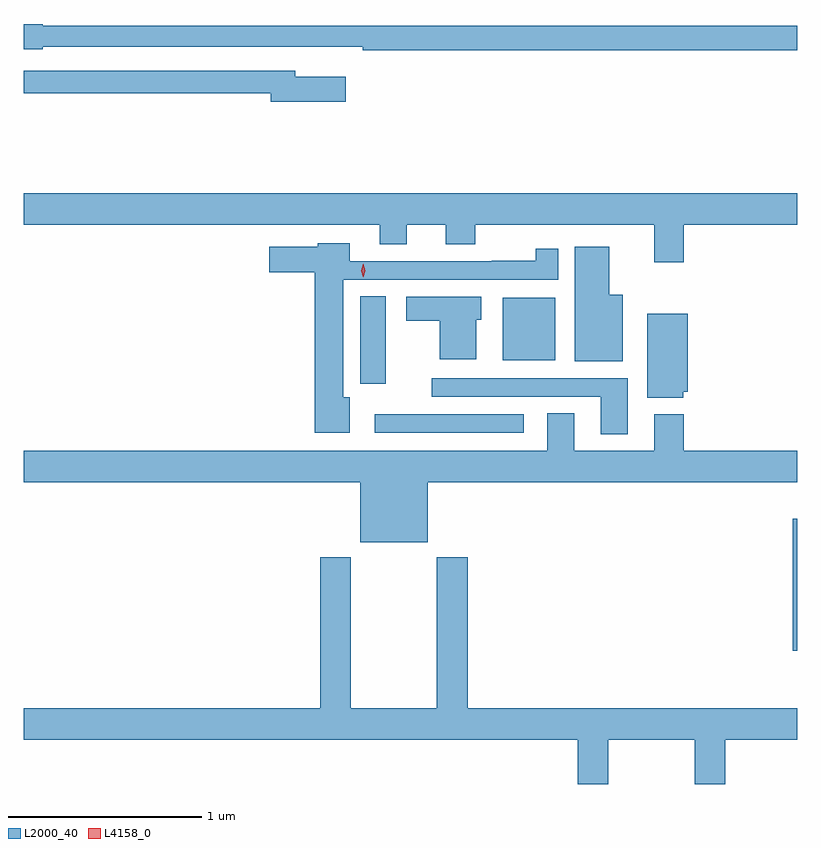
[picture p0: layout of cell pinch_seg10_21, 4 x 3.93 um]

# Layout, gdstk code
import gdstk
lib = gdstk.Library(unit=1e-6, precision=1e-09)
def R(c, l, rs):  # rectangles x0, y0, x1, y1
    for r in rs: c.add(gdstk.rectangle(r[:2], r[2:], *l))
def P(c, l, *ps):  # polygons
    for p in ps: c.add(gdstk.Polygon(p, *l))
L2000_40 = (2000, 40)
L4158_0 = (4158, 0)

pinch_seg10_21 = lib.new_cell('pinch_seg10_21')
R(pinch_seg10_21, L2000_40, [(953.257,1298.112,953.281,1298.797), (951.096,1299.24,951.868,1299.336), (951.02,1299.495,951.154,1299.947), (951.758,1299.617,952.03,1299.94)])
P(pinch_seg10_21, L2000_40, [(953.281,1301.347),(949.38,1301.347),(949.38,1301.355),(949.281,1301.355),(949.281,1301.225),(949.38,1301.225),(949.38,1301.238),(950.782,1301.238),(950.782,1301.237),(951.034,1301.237),(951.034,1301.218),(953.281,1301.218)],
  [(950.947,1301.083),(950.686,1301.083),(950.686,1301.112),(949.281,1301.112),(949.281,1300.996),(950.558,1300.996),(950.558,1300.954),(950.947,1300.954)],
  [(952.694,1300.316),(953.281,1300.316),(953.281,1300.48),(949.281,1300.48),(949.281,1300.316),(951.122,1300.316),(951.122,1300.217),(951.262,1300.217),(951.262,1300.316),(951.464,1300.316),(951.464,1300.217),(951.617,1300.217),(951.617,1300.316),(952.541,1300.316),(952.541,1300.122),(952.694,1300.122)],
  [(950.968,1299.424),(950.932,1299.424),(950.932,1300.032),(952.045,1300.032),(952.045,1300.192),(951.928,1300.192),(951.928,1300.13),(951.7,1300.13),(951.7,1300.128),(950.968,1300.128),(950.968,1300.222),(950.802,1300.222),(950.802,1300.204),(950.55,1300.204),(950.55,1300.07),(950.786,1300.07),(950.786,1299.242),(950.968,1299.242)],
  [(952.378,1299.955),(952.309,1299.955),(952.309,1300.204),(952.13,1300.204),(952.13,1299.611),(952.378,1299.611)],
  [(951.622,1299.825),(951.646,1299.825),(951.646,1299.943),(951.258,1299.943),(951.258,1299.821),(951.431,1299.821),(951.431,1299.62),(951.622,1299.62)],
  [(952.692,1299.453),(952.714,1299.453),(952.714,1299.856),(952.505,1299.856),(952.505,1299.422),(952.692,1299.422)],
  [(952.405,1299.522),(951.39,1299.522),(951.39,1299.426),(952.265,1299.426),(952.265,1299.234),(952.405,1299.234)],
  [(951.37,1298.984),(953.281,1298.984),(953.281,1299.148),(952.694,1299.148),(952.694,1299.337),(952.541,1299.337),(952.541,1299.148),(952.129,1299.148),(952.129,1299.341),(951.989,1299.341),(951.989,1299.148),(949.281,1299.148),(949.281,1298.984),(951.02,1298.984),(951.02,1298.675),(951.37,1298.675)],
  [(952.305,1297.652),(952.75,1297.652),(952.75,1297.424),(952.91,1297.424),(952.91,1297.652),(953.281,1297.652),(953.281,1297.816),(951.578,1297.816),(951.578,1298.596),(951.418,1298.596),(951.418,1297.816),(950.973,1297.816),(950.973,1298.596),(950.813,1298.596),(950.813,1297.816),(949.281,1297.816),(949.281,1297.652),(952.145,1297.652),(952.145,1297.424),(952.305,1297.424)])
P(pinch_seg10_21, L4158_0, [(951.036,1300.045),(951.036,1300.045),(951.027,1300.08),(951.037,1300.116),(951.037,1300.116),(951.037,1300.116),(951.047,1300.08),(951.037,1300.045)])

lib.write_gds('pinch_seg10_21.gds')
